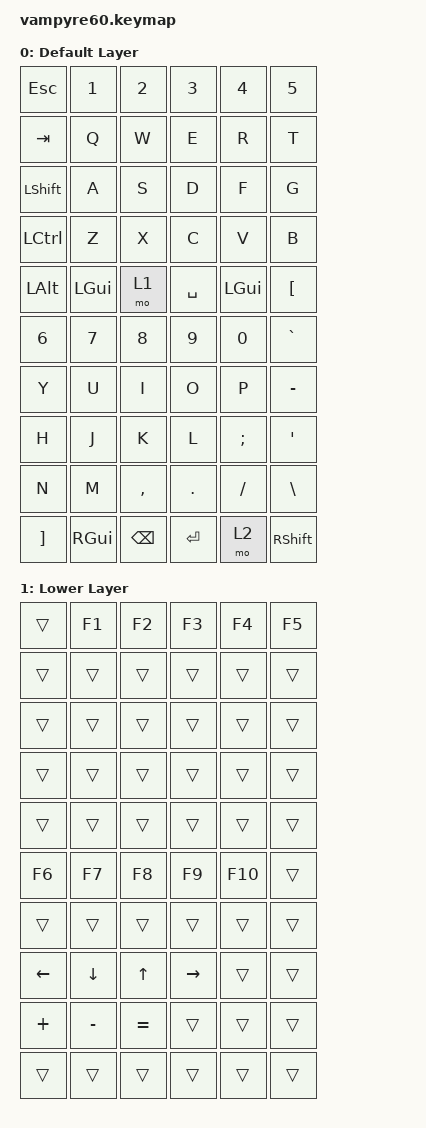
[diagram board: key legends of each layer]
#include <behaviors.dtsi>
#include <dt-bindings/zmk/keys.h>

/ {
    keymap {
	compatible = "zmk,keymap";

        default_layer {
	    display-name = "Default Layer";
// ------------------------------------------------------------------------------------------------------------
// |  ESC  |  1  |  2  |  3   |  4   |  5   |                   |  6   |  7    |  8    |  9   |   0   |   `   |
// |  TAB  |  Q  |  W  |  E   |  R   |  T   |                   |  Y   |  U    |  I    |  O   |   P   |   -   |
// |  CTRL |  A  |  S  |  D   |  F   |  G   |                   |  H   |  J    |  K    |  L   |   ;   |   '   |
// | SHIFT |  Z  |  X  |  C   |  V   |  B   |   "["  |  |  "]"  |  N   |  M    |  ,    |  .   |   /   | SHIFT |
//                     | ALT  | GUI  | LOWER|  SPACE |  | ENTER | RAISE| BSPC  | GUI   |
            bindings = <
    // Left Keyboard
    &kp ESC   &kp N1   &kp N2 &kp N3    &kp N4   &kp N5
    &kp TAB   &kp Q    &kp W  &kp E     &kp R    &kp T
    &kp LSHFT &kp A    &kp S  &kp D     &kp F    &kp G
    &kp LCTRL &kp Z    &kp X  &kp C     &kp V    &kp B  
    &kp LALT  &kp LGUI &mo 1  &kp SPACE &kp LGUI &kp LBKT

    // Right Keyboard
    &kp N6    &kp N7   &kp N8    &kp N9  &kp N0   &kp GRAVE
    &kp Y     &kp U    &kp I     &kp O   &kp P    &kp MINUS
    &kp H     &kp J    &kp K     &kp L   &kp SEMI &kp SQT
    &kp N     &kp M    &kp COMMA &kp DOT &kp FSLH &kp BSLH
    &kp RBKT  &kp RGUI &kp BSPC  &kp RET &mo 2    &kp RSHFT
	    >;
	};
	
	lower_layer {
	    display-name = "Lower Layer";
            bindings = <
    // Left Keyboard
    &trans   &kp F1   &kp F2   &kp F3   &kp F4   &kp F5
    &trans   &trans   &trans   &trans   &trans   &trans
    &trans   &trans   &trans   &trans   &trans   &trans
    &trans   &trans   &trans   &trans   &trans   &trans
    &trans   &trans   &trans   &trans   &trans   &trans

    // Right Keyboard
    &kp F6      &kp F7      &kp F8      &kp F9      &kp F10  &trans
    &trans      &trans      &trans      &trans      &trans   &trans
    &kp LEFT    &kp DOWN    &kp UP      &kp RIGHT   &trans   &trans
    &kp PLUS    &kp MINUS   &kp EQUAL   &trans      &trans   &trans
    &trans      &trans      &trans      &trans      &trans   &trans
	    >;
	};
    };
};







